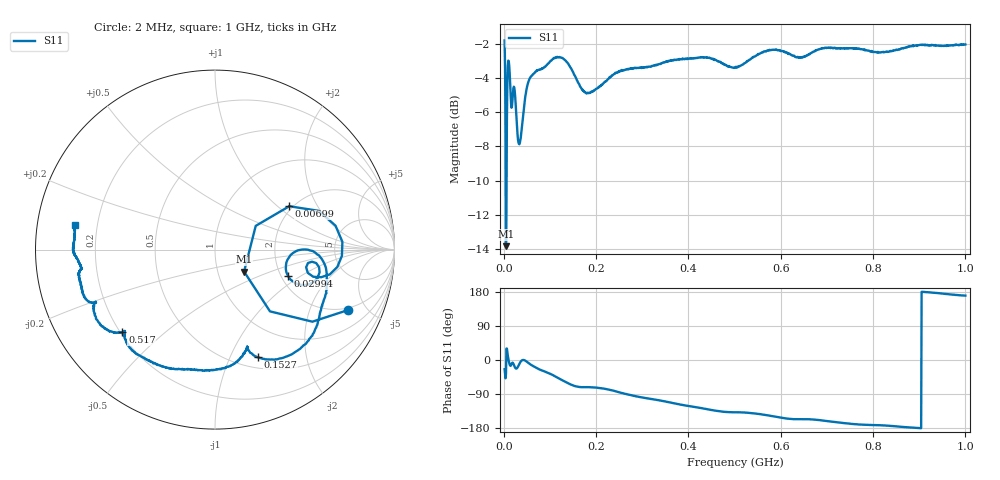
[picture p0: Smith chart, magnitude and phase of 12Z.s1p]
!Keysight Technologies N9923A: A.08.19
!Date: Thursday, 16 January 2020 11:30:00
!TimeZone: (GMT-03:00) Brasilia!Model: N9923A
!Serial: MY51491501
!GPS Latitude:
!GPS Longitude:
!GPS TimeStamp: 0001-01-01 00:00:00Z
!GPS Seconds Since Last Read: 0
!CHECKSUM:1078980270
!Correction: S11(ON U)
!S1P File: Measurement: S11:
# Hz S DB R 50
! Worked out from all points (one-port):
!   1001 points, 2 MHz to 1 GHz, reference 50 ohm
!   lowest |S11| = -13.8 dB at 4.994 MHz (marker M1), VSWR 1.51, Z = 66.8 - j17.1 ohm
!   |S11| at or under -10 dB: 4.455 MHz to 6.3 MHz (1.846 MHz wide, 34.3 % of centre)
!   S11 on the Smith chart (normalised r, x): 2 MHz: 1.87, -3.74; 6.99 MHz: 1.92, +1.20; 29.94 MHz: 2.18, -0.79; 152.7 MHz: 0.62, -1.28; 517 MHz: 0.21, -0.37; 1 GHz: 0.12, +0.09
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2000000  -1.78 -24.4
4994000  -13.85 -37.1
6990000  -6.39 30.3
9984000  -2.96 3.5
1.0982e7  -3.00 -2.8
1.3976e7  -4.28 -14.6
2.5952e7  -5.53 -22.0
2.9944e7  -7.28 -19.8
3.5932e7  -7.64 -5.9
4.5912e7  -5.27 -0.9
5.5892e7  -4.04 -9.9
7.186e7  -3.52 -21.4
1.04794e8  -2.91 -38.9
1.2675e8  -2.81 -53.4
1.52698e8  -3.80 -68.1
1.84634e8  -4.87 -71.7
2.20562e8  -4.17 -76.4
2.515e8  -3.58 -85.7
3.7625e8  -2.91 -116.1
4.511e8  -2.87 -132.1
5.01e8  -3.37 -137.8
5.16968e8  -3.21 -138.3
5.6088e8  -2.49 -143.9
6.2575e8  -2.67 -155.9
6.78644e8  -2.35 -157.9
7.505e8  -2.23 -168.0
8.7525e8  -2.16 -177.6
1e9  -2.02 169.9
